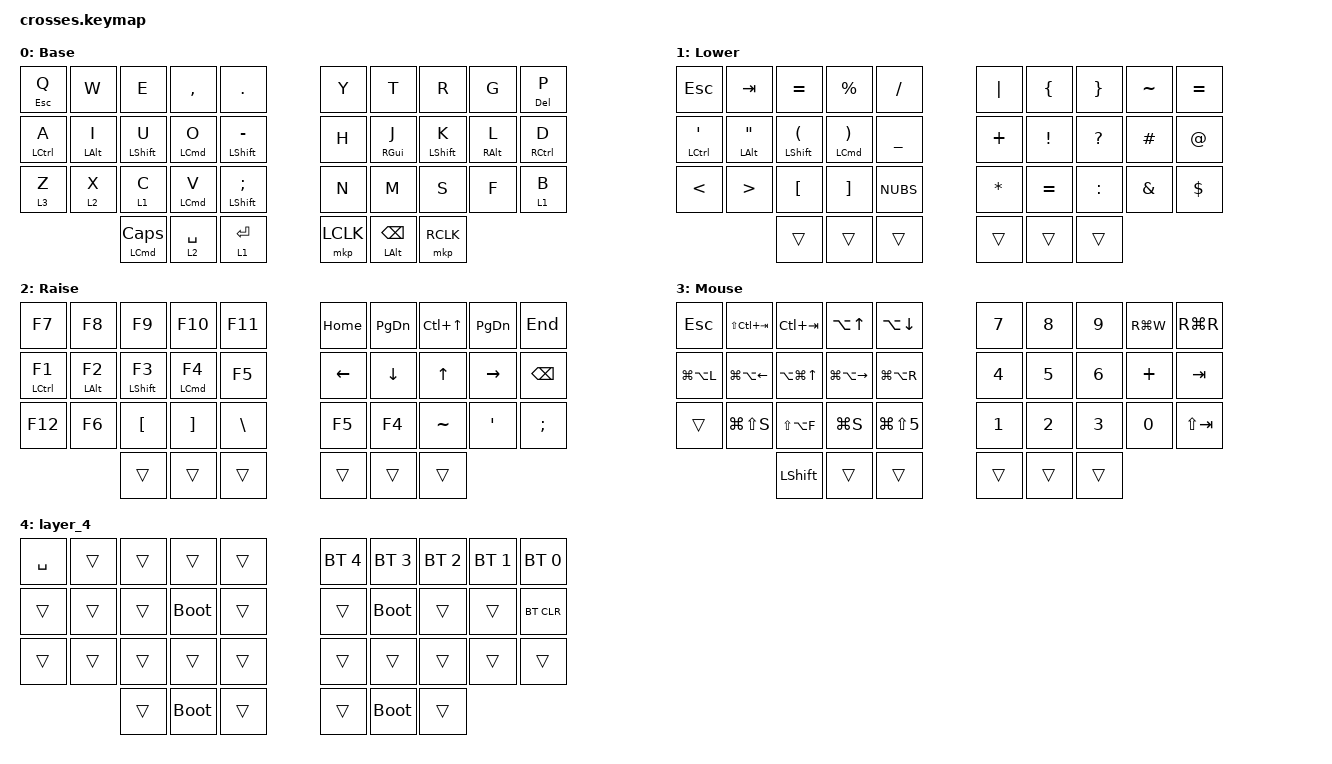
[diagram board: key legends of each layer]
#include <behaviors.dtsi>
#include <dt-bindings/zmk/bt.h>
#include <dt-bindings/zmk/keys.h>
#include <dt-bindings/zmk/pointing.h>

/ {
    chosen { zmk,physical-layout = &gggw_crosses_36_layout; };

    behaviors {
        as: auto_shift {
            compatible = "zmk,behavior-hold-tap";
            #binding-cells = <2>;
            tapping-term-ms = <200>;
            quick-tap-ms = <0>;
            flavor = "tap-preferred";
            bindings = <&kp>, <&kp>;
        };

        to_layer_5: to_layer_5 {
            compatible = "zmk,behavior-hold-tap";
            bindings = <&to>, <&kp>;

            #binding-cells = <2>;
            tapping-term-ms = <200>;
            hold-trigger-key-positions = <5>;
        };
    };

    combos {
        compatible = "zmk,combos";

        esc {
            bindings = <&kp ESCAPE>;
            key-positions = <0 1>;
        };

        layr {
            bindings = <&mo 4>;
            key-positions = <32 33>;
        };
    };

    keymap {
        compatible = "zmk,keymap";

        default_layer {
            display-name = "Base";
            bindings = <
&mt ESC Q           &kp W           &kp E                  &kp COMMA           &kp PERIOD                &kp Y      &kp T                   &kp R             &kp G            &mt DEL P
&mt LEFT_CONTROL A  &mt LEFT_ALT I  &mt LEFT_SHIFT U       &mt LEFT_COMMAND O  &mt LEFT_SHIFT MINUS      &kp H      &mt RGUI J              &mt LEFT_SHIFT K  &mt RIGHT_ALT L  &mt RIGHT_CONTROL D
&lt 3 Z             &lt 2 X         &lt 1 C                &mt LEFT_COMMAND V  &mt LEFT_SHIFT SEMICOLON  &kp N      &kp M                   &kp S             &kp F            &lt 1 B
                                    &mt LEFT_COMMAND CAPS  &lt 2 SPACE         &lt 1 ENTER               &mkp LCLK  &mt LEFT_ALT BACKSPACE  &mkp RCLK
            >;
        };

        lower_layer {
            display-name = "Lower";
            bindings = <
&kp ESC                        &kp TAB                     &kp EQUAL                        &kp PRCNT                           &kp SLASH       &kp PIPE   &kp LEFT_BRACE   &kp RIGHT_BRACE  &kp TILDE  &kp EQUAL
&mt LEFT_CONTROL SINGLE_QUOTE  &mt LEFT_ALT DOUBLE_QUOTES  &mt LEFT_SHIFT LEFT_PARENTHESIS  &mt LEFT_COMMAND RIGHT_PARENTHESIS  &kp UNDERSCORE  &kp PLUS   &kp EXCLAMATION  &kp QMARK        &kp HASH   &kp AT
&kp LESS_THAN                  &kp GT                      &kp LEFT_BRACKET                 &kp RIGHT_BRACKET                   &kp NUBS        &kp ASTRK  &kp EQUAL        &kp COLON        &kp AMPS   &kp DOLLAR
                                                           &trans                           &trans                              &trans          &trans     &trans           &trans
            >;
        };

        raise_layer {
            display-name = "Raise";
            bindings = <
&kp F7               &kp F8           &kp F9             &kp F10              &kp F11        &kp HOME  &kp PAGE_DOWN  &kp LC(UP_ARROW)  &kp PAGE_DOWN  &kp END
&mt LEFT_CONTROL F1  &mt LEFT_ALT F2  &mt LEFT_SHIFT F3  &mt LEFT_COMMAND F4  &kp F5         &kp LEFT  &kp DOWN       &kp UP_ARROW      &kp RIGHT      &kp BACKSPACE
&kp F12              &kp F6           &kp LEFT_BRACKET   &kp RIGHT_BRACKET    &kp BACKSLASH  &kp F5    &kp F4         &kp TILDE         &kp SQT        &kp SEMICOLON
                                      &trans             &trans               &trans         &trans    &trans         &trans
            >;
        };

        mouse_layer {
            display-name = "Mouse";
            bindings = <
&kp ESC        &kp LS(LC(TAB))   &kp LC(TAB)           &kp LA(UP_ARROW)   &kp LA(DOWN_ARROW)  &kp N7        &kp N8        &kp N9        &kp RG(W)  &kp RG(R)
&kp LG(LA(L))  &kp LG(LA(LEFT))  &kp LA(LG(UP_ARROW))  &kp LG(LA(RIGHT))  &kp LG(LA(R))       &kp NUMBER_4  &kp N5        &kp NUMBER_6  &kp PLUS   &kp TAB
&trans         &kp LG(LS(S))     &kp LS(LA(F))         &kp LG(S)          &kp LG(LS(N5))      &kp NUMBER_1  &kp NUMBER_2  &kp NUMBER_3  &kp N0     &kp LS(TAB)
                                 &kp LSHIFT            &trans             &trans              &trans        &trans        &trans
            >;
        };

        layer_4 {
            bindings = <
&kp SPACE  &trans  &trans  &trans       &trans  &bt BT_SEL 4  &bt BT_SEL 3  &bt BT_SEL 2  &bt BT_SEL 1  &bt BT_SEL 0
&trans     &trans  &trans  &bootloader  &trans  &trans        &bootloader   &trans        &trans        &bt BT_CLR
&trans     &trans  &trans  &trans       &trans  &trans        &trans        &trans        &trans        &trans
                   &trans  &bootloader  &trans  &trans        &bootloader   &trans
            >;
        };
    };
};
